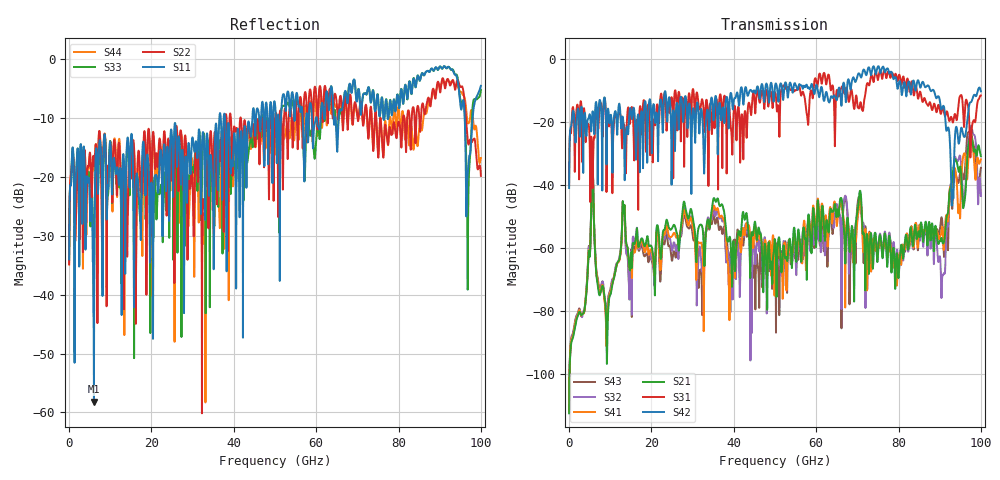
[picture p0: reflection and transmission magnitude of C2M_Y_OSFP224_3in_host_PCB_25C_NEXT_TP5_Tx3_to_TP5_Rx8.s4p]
# GHz S RI R 45
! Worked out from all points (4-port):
!   4000 points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, 25 MHz to 100 GHz, reference 45 ohm
!   strongest paths, dB at 25 MHz, 25.02 GHz, 50.02 GHz, 75.03 GHz, 100 GHz:
!     S42: -41.0, -23.5, -8.5, -2.3, -10.3
!     S31: -40.1, -12.9, -10.6, -6.6, -11.6
!     S21: -112.6, -53.8, -57.5, -61.5, -30.9
!     S41: -112.1, -56.3, -64.3, -60.1, -31.9
!     S32: -111.7, -61.0, -63.0, -61.3, -43.5
!     S43: -111.4, -64.1, -61.6, -59.9, -34.6
!   lowest |S11| = -58.2 dB at 6.05 GHz (marker M1), VSWR 1.00, Z = 44.9 + j0.0964 ohm
!   |S11| at or under -10 dB: start of sweep to 36.5 GHz; 37.88 GHz to 44.5 GHz (6.618 GHz wide, 16.1 % of centre); 96.08 GHz to 98 GHz (1.926 GHz wide, 1.98 % of centre) (the widest 3 of 21)
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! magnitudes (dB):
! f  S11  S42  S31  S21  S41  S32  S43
! 25 MHz  -34.0  -41.0  -40.1  -112.6  -112.1  -111.7  -111.4
! 6.05 GHz  -58.2  -21.3  -24.9  -51.6  -51.4  -51.3  -51.1
! 9.1 GHz  -26.3  -33.5  -42.3  -88.4  -91.1  -85.1  -89.3
! 35.58 GHz  -11.5  -11.7  -14.9  -45.3  -47.9  -49.8  -52.4
! 79.58 GHz  -6.6  -7.7  -6.0  -61.9  -71.7  -61.1  -67.4
! 93.08 GHz  -1.8  -42.5  -19.8  -37.6  -40.4  -40.0  -47.4
! 100 GHz  -4.5  -10.3  -11.6  -30.9  -31.9  -43.5  -34.6
